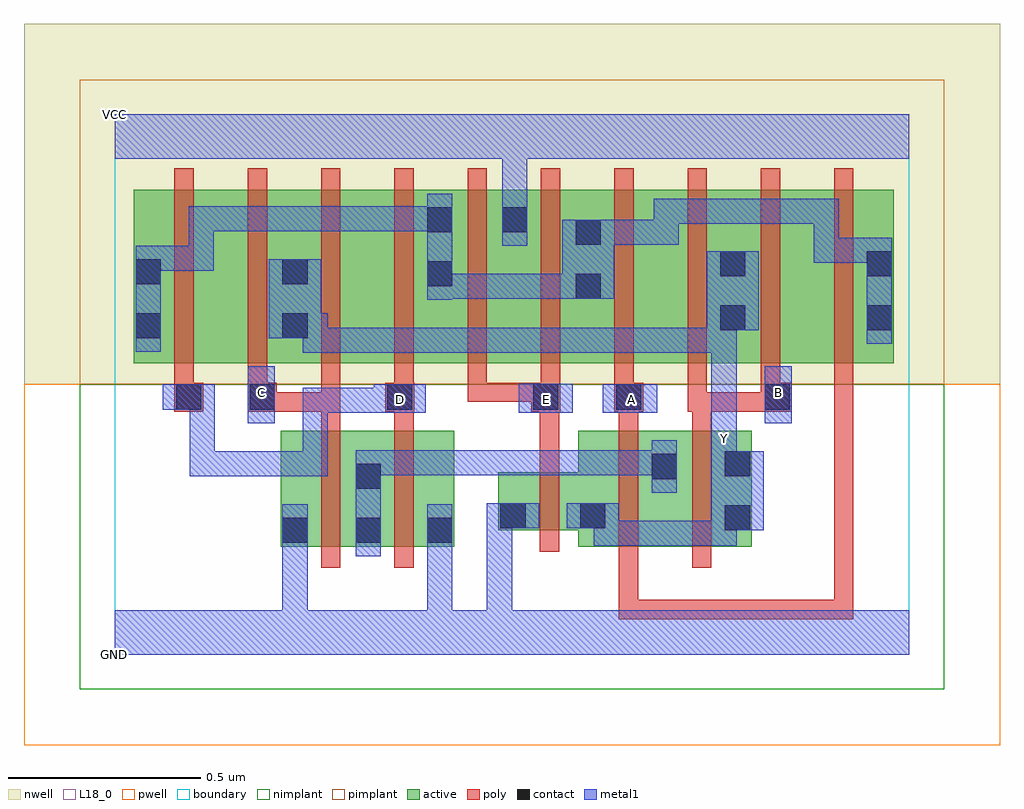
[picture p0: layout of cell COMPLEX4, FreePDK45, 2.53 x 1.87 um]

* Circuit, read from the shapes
.subckt COMPLEX4 A B C D E GND VCC Y
M1 n1 C GND VSUBS nfet w=0.3u l=0.05u
M2 GND D n1 VSUBS nfet w=0.3u l=0.05u
M3 Y E GND VSUBS nfet w=0.15u l=0.05u
M4 n1 A Y VSUBS nfet w=0.3u l=0.05u
M5 Y B n1 VSUBS nfet w=0.3u l=0.05u
M6 n2 D n3 n4 pfet w=0.45u l=0.05u
M7 Y C n2 n4 pfet w=0.45u l=0.05u
M8 n5 C Y n4 pfet w=0.45u l=0.05u
M9 n3 D n5 n4 pfet w=0.45u l=0.05u
M10 VCC E n3 n4 pfet w=0.45u l=0.05u m=2
M11 n6 A n3 n4 pfet w=0.45u l=0.05u
M12 Y B n6 n4 pfet w=0.45u l=0.05u
M13 n7 B Y n4 pfet w=0.45u l=0.05u
M14 n3 A n7 n4 pfet w=0.45u l=0.05u
.ends

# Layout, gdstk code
import gdstk
lib = gdstk.Library(unit=1e-6, precision=1e-09)
def R(c, l, rs):  # rectangles x0, y0, x1, y1
    for r in rs: c.add(gdstk.rectangle(r[:2], r[2:], *l))
def A(c, l, x, y, w, h, nx, ny, dx, dy):  # array of equal rectangles
    R(c, l, [(x+i*dx, y+j*dy, x+i*dx+w, y+j*dy+h) for i in range(nx) for j in range(ny)])
active = (1, 0)
pwell = (2, 0)
nwell = (3, 0)
nimplant = (4, 0)
pimplant = (5, 0)
poly = (9, 0)
contact = (10, 0)
metal1 = (11, 0)
L18_0 = (18, 0)
boundary = (235, 0)

complex4 = lib.new_cell('COMPLEX4')
R(complex4, active, [(0.43,0.28,0.695,0.58), (0.43,0.28,0.505,0.58), (0.62,0.28,0.88,0.58), (0.62,0.28,0.695,0.58), (0.805,0.28,0.88,0.58), (1.202,0.28,1.462,0.58), (1.202,0.28,1.277,0.397), (1.387,0.28,1.652,0.58), (1.577,0.317,1.652,0.58), (0.995,0.322,1.277,0.472), (0.995,0.322,1.07,0.472), (1.387,0.345,1.462,0.525), (0.05,0.755,0.275,1.205), (0.05,0.755,0.155,1.2), (0.275,0.755,0.505,1.205), (0.43,0.755,0.655,1.205), (0.43,0.755,0.505,1.07), (0.655,0.755,0.88,1.205), (0.805,0.755,0.88,1.2), (0.805,0.755,1.075,1.205), (1,0.755,1.265,1.205), (1.19,0.755,1.415,1.205), (1.415,0.755,1.64,1.205), (1.565,0.755,1.795,1.205), (1.565,0.755,1.64,1.07), (1.795,0.755,2.02,1.205), (1.945,0.755,2.02,1.2), (1,0.852,1.075,1.205), (1.19,0.857,1.265,1.2)])
R(complex4, pwell, [(-0.235,-0.235,2.295,0.7)])
R(complex4, nwell, [(-0.235,0.7,2.295,1.635)])
R(complex4, nimplant, [(-0.09,-0.09,2.15,0.7)])
R(complex4, pimplant, [(-0.09,0.7,2.15,1.49)])
A(complex4, poly, 0.725, 0.655, 0.05, 0.095, 4, 1, 0.19, 0)
A(complex4, poly, 0.155, 0.7, 0.05, 0.56, 10, 1, 0.19, 0)
R(complex4, poly, [(1.307,0.092,1.357,0.142), (1.307,0.092,1.357,0.142), (1.307,0.092,1.357,0.142), (1.307,0.092,1.592,0.142), (1.307,0.092,1.357,0.275), (1.542,0.092,1.592,0.142), (1.542,0.092,1.592,0.142), (1.542,0.092,1.592,0.142), (1.542,0.092,1.782,0.142), (1.732,0.092,1.782,0.142), (1.732,0.092,1.782,0.142), (1.732,0.092,1.782,0.142), (1.732,0.092,1.915,0.142), (1.865,0.092,1.915,0.75), (1.865,0.092,1.915,0.142), (1.865,0.092,1.915,0.142), (1.865,0.092,1.915,0.142), (1.865,0.092,1.915,0.142), (1.865,0.092,1.915,0.142), (1.865,0.092,1.915,0.142), (1.865,0.092,1.915,0.142), (1.865,0.092,1.915,0.142), (1.865,0.092,1.915,0.142), (0.535,0.225,0.585,0.635), (0.725,0.225,0.775,0.635), (1.307,0.225,1.357,0.635), (1.497,0.225,1.547,0.635), (1.102,0.267,1.152,0.527), (1.102,0.477,1.152,0.68), (0.535,0.585,0.585,0.68), (0.725,0.585,0.775,0.68), (1.307,0.585,1.357,0.68), (1.497,0.585,1.547,0.68), (0.155,0.63,0.23,0.705), (0.345,0.63,0.42,0.705), (0.37,0.63,0.42,0.68), (0.37,0.63,0.42,0.68), (0.37,0.63,0.585,0.68), (0.535,0.63,0.585,0.68), (0.535,0.63,0.585,0.75), (0.702,0.63,0.777,0.705), (1.08,0.63,1.155,0.705), (1.295,0.63,1.37,0.705), (1.485,0.63,1.535,0.75), (1.485,0.63,1.547,0.68), (1.497,0.63,1.725,0.68), (1.675,0.63,1.725,0.68), (1.675,0.63,1.725,0.68), (1.675,0.63,1.755,0.705), (0.155,0.655,0.205,0.75), (0.345,0.655,0.395,0.75), (0.915,0.655,0.965,0.705), (0.915,0.655,1.13,0.705), (1.08,0.655,1.13,0.705), (1.08,0.655,1.13,0.705), (1.675,0.655,1.725,0.75)])
R(complex4, contact, [(0.435,0.29,0.5,0.355), (0.625,0.29,0.69,0.355), (0.81,0.29,0.875,0.355), (1.582,0.322,1.647,0.387), (1,0.327,1.065,0.392), (1.207,0.327,1.272,0.392), (0.625,0.43,0.69,0.495), (1.392,0.455,1.457,0.52), (1.582,0.462,1.647,0.527), (0.16,0.635,0.225,0.7), (0.35,0.635,0.415,0.7), (0.707,0.635,0.772,0.7), (1.085,0.635,1.15,0.7), (1.3,0.635,1.365,0.7), (1.685,0.635,1.75,0.7), (0.055,0.82,0.12,0.885), (0.435,0.82,0.5,0.885), (1.57,0.84,1.635,0.905), (1.95,0.84,2.015,0.905), (1.195,0.922,1.26,0.987), (0.81,0.955,0.875,1.02), (0.055,0.96,0.12,1.025), (0.435,0.96,0.5,1.025), (1.57,0.98,1.635,1.045), (1.95,0.98,2.015,1.045), (1.195,1.062,1.26,1.127), (0.81,1.095,0.875,1.16), (1.005,1.095,1.07,1.16)])
R(complex4, metal1, [(0,0,2.06,0.115), (0.435,0.05,0.5,0.32), (0.81,0.05,0.875,0.115), (0.81,0.05,0.875,0.115), (0.81,0.05,0.875,0.115), (0.81,0.05,0.875,0.115), (0.81,0.05,0.875,0.32), (0.965,0.05,1.03,0.115), (0.965,0.05,1.03,0.115), (0.965,0.05,1.03,0.392), (0.435,0.255,0.5,0.32), (0.435,0.255,0.5,0.32), (0.435,0.255,0.5,0.32), (0.435,0.255,0.5,0.32), (0.435,0.255,0.5,0.39), (0.625,0.255,0.69,0.53), (0.81,0.255,0.875,0.39), (1.242,0.282,1.462,0.347), (1.242,0.282,1.307,0.392), (1.397,0.282,1.462,0.347), (1.397,0.282,1.462,0.347), (1.397,0.282,1.462,0.347), (1.397,0.282,1.612,0.347), (1.547,0.282,1.612,0.347), (1.547,0.282,1.612,0.387), (1.547,0.322,1.682,0.527), (0.965,0.327,1.03,0.392), (0.965,0.327,1.03,0.392), (0.965,0.327,1.03,0.392), (0.965,0.327,1.03,0.392), (0.965,0.327,1.1,0.392), (1.172,0.327,1.307,0.392), (1.242,0.327,1.307,0.392), (1.392,0.42,1.457,0.555), (0.195,0.462,0.26,0.527), (0.195,0.462,0.415,0.527), (0.195,0.462,0.26,0.7), (0.35,0.462,0.415,0.527), (0.35,0.462,0.552,0.527), (0.487,0.462,0.552,0.527), (0.487,0.462,0.552,0.692), (1.547,0.462,1.612,0.527), (1.547,0.462,1.612,0.642), (0.625,0.465,0.69,0.53), (0.625,0.465,0.69,0.53), (0.625,0.465,0.875,0.53), (0.81,0.465,0.875,0.53), (0.81,0.465,0.875,0.53), (0.81,0.465,0.875,0.53), (0.81,0.465,1.08,0.53), (1.015,0.465,1.08,0.53), (1.015,0.465,1.08,0.53), (1.015,0.465,1.08,0.53), (1.015,0.465,1.28,0.53), (1.215,0.465,1.28,0.53), (1.215,0.465,1.28,0.53), (1.215,0.465,1.28,0.53), (1.215,0.465,1.457,0.53), (1.547,0.577,1.612,0.905), (0.345,0.6,0.415,0.747), (1.685,0.6,1.755,0.747), (0.487,0.627,0.552,0.692), (0.487,0.627,0.552,0.692), (0.487,0.627,0.552,0.692), (0.487,0.627,0.737,0.692), (0.672,0.627,0.737,0.692), (0.672,0.627,0.737,0.692), (0.672,0.627,0.807,0.7), (1.047,0.627,1.187,0.702), (1.265,0.627,1.407,0.7), (0.125,0.635,0.26,0.7), (0.195,0.635,0.26,0.7), (0.195,0.635,0.26,0.7), (0.487,0.782,0.69,0.847), (0.487,0.782,0.552,0.885), (0.625,0.782,0.69,0.847), (0.625,0.782,0.69,0.847), (0.625,0.782,0.69,0.847), (0.625,0.782,0.875,0.847), (0.81,0.782,0.875,0.847), (0.81,0.782,0.875,0.847), (0.81,0.782,0.875,0.847), (0.81,0.782,1.012,0.847), (0.947,0.782,1.012,0.847), (0.947,0.782,1.012,0.847), (0.947,0.782,1.012,0.847), (0.947,0.782,1.32,0.847), (1.255,0.782,1.32,0.847), (1.255,0.782,1.32,0.847), (1.255,0.782,1.32,0.847), (1.255,0.782,1.462,0.847), (1.397,0.782,1.6,0.847), (1.397,0.782,1.462,0.847), (1.535,0.782,1.6,0.905), (0.055,0.785,0.12,1.06), (1.95,0.805,2.015,1.08), (0.4,0.82,0.535,1.025), (0.47,0.82,0.552,0.885), (1.535,0.84,1.6,0.905), (1.535,0.84,1.67,1.045), (0.81,0.92,0.875,1.195), (0.81,0.922,0.875,0.987), (0.81,0.922,0.875,0.987), (0.81,0.922,1.087,0.987), (1.022,0.922,1.225,0.987), (1.022,0.922,1.087,0.987), (1.022,0.922,1.087,0.987), (1.022,0.922,1.087,0.987), (1.16,0.922,1.295,1.127), (0.055,0.995,0.12,1.06), (0.055,0.995,0.12,1.06), (0.055,0.995,0.257,1.06), (0.192,0.995,0.257,1.06), (0.192,0.995,0.257,1.162), (1.812,1.015,2.015,1.08), (1.812,1.015,1.877,1.08), (1.812,1.015,1.877,1.08), (1.812,1.015,1.877,1.08), (1.812,1.015,1.877,1.182), (1.005,1.06,1.07,1.195), (1.23,1.062,1.295,1.127), (1.23,1.062,1.295,1.127), (1.23,1.062,1.462,1.127), (1.397,1.062,1.462,1.182), (0.192,1.097,0.257,1.162), (0.192,1.097,0.397,1.162), (0.332,1.097,0.397,1.162), (0.332,1.097,0.552,1.162), (0.487,1.097,0.69,1.162), (0.487,1.097,0.552,1.162), (0.487,1.097,0.552,1.162), (0.487,1.097,0.552,1.162), (0.625,1.097,0.69,1.162), (0.625,1.097,0.69,1.162), (0.625,1.097,0.69,1.162), (0.625,1.097,0.875,1.162), (1.397,1.117,1.462,1.182), (1.397,1.117,1.462,1.182), (1.397,1.117,1.737,1.182), (1.672,1.117,1.737,1.182), (1.672,1.117,1.737,1.182), (1.672,1.117,1.737,1.182), (1.672,1.117,1.877,1.182), (1.812,1.117,1.877,1.182), (1.005,1.13,1.07,1.35), (0,1.285,2.06,1.4)])
R(complex4, L18_0, [(0,0,2.06,0.115), (0.435,0.05,0.5,0.32), (0.81,0.05,0.875,0.115), (0.81,0.05,0.875,0.115), (0.81,0.05,0.875,0.115), (0.81,0.05,0.875,0.115), (0.81,0.05,0.875,0.32), (0.965,0.05,1.03,0.115), (0.965,0.05,1.03,0.115), (0.965,0.05,1.03,0.392), (0.435,0.255,0.5,0.32), (0.435,0.255,0.5,0.32), (0.435,0.255,0.5,0.32), (0.435,0.255,0.5,0.32), (0.435,0.255,0.5,0.39), (0.81,0.255,0.875,0.39), (1.242,0.282,1.462,0.347), (1.242,0.282,1.307,0.392), (1.397,0.282,1.462,0.347), (1.397,0.282,1.462,0.347), (1.397,0.282,1.462,0.347), (1.397,0.282,1.612,0.347), (1.547,0.282,1.612,0.347), (1.547,0.282,1.612,0.387), (1.547,0.322,1.682,0.527), (0.965,0.327,1.1,0.392), (0.965,0.327,1.03,0.392), (0.965,0.327,1.03,0.392), (0.965,0.327,1.03,0.392), (0.965,0.327,1.03,0.392), (1.172,0.327,1.307,0.392), (1.242,0.327,1.307,0.392), (0.195,0.462,0.26,0.527), (0.195,0.462,0.26,0.7), (0.195,0.462,0.415,0.527), (0.35,0.462,0.415,0.527), (0.35,0.462,0.552,0.527), (0.487,0.462,0.552,0.527), (0.487,0.462,0.552,0.692), (1.547,0.462,1.612,0.527), (1.547,0.462,1.612,0.642), (1.547,0.527,1.612,0.592), (1.547,0.577,1.612,0.905), (0.345,0.6,0.415,0.747), (1.685,0.6,1.755,0.747), (0.487,0.627,0.552,0.692), (0.487,0.627,0.552,0.692), (0.487,0.627,0.552,0.692), (0.487,0.627,0.737,0.692), (0.672,0.627,0.737,0.692), (0.672,0.627,0.737,0.692), (0.672,0.627,0.807,0.7), (0.707,0.627,0.772,0.692), (1.047,0.627,1.187,0.702), (1.087,0.627,1.152,0.692), (1.265,0.627,1.407,0.7), (1.307,0.627,1.372,0.692), (0.125,0.635,0.26,0.7), (0.195,0.635,0.26,0.7), (0.195,0.635,0.26,0.7), (0.347,0.647,0.412,0.712), (1.687,0.647,1.752,0.712), (0.487,0.782,0.552,0.885), (0.487,0.782,0.69,0.847), (0.625,0.782,0.69,0.847), (0.625,0.782,0.69,0.847), (0.625,0.782,0.69,0.847), (0.625,0.782,0.875,0.847), (0.81,0.782,0.875,0.847), (0.81,0.782,0.875,0.847), (0.81,0.782,0.875,0.847), (0.81,0.782,1.012,0.847), (0.947,0.782,1.012,0.847), (0.947,0.782,1.012,0.847), (0.947,0.782,1.012,0.847), (0.947,0.782,1.32,0.847), (1.255,0.782,1.32,0.847), (1.255,0.782,1.32,0.847), (1.255,0.782,1.32,0.847), (1.255,0.782,1.462,0.847), (1.397,0.782,1.462,0.847), (1.397,0.782,1.6,0.847), (1.535,0.782,1.6,0.905), (0.4,0.82,0.535,1.025), (0.47,0.82,0.552,0.885), (1.535,0.84,1.6,0.905), (1.535,0.84,1.67,1.045), (1.005,1.06,1.07,1.195), (1.005,1.13,1.07,1.35), (0,1.285,2.06,1.4)])
R(complex4, boundary, [(0,0,2.06,1.4)])
complex4.add(gdstk.Label('A', (1.34,0.66), layer=11, texttype=0))
complex4.add(gdstk.Label('B', (1.72,0.68), layer=11, texttype=0))
complex4.add(gdstk.Label('C', (0.38,0.68), layer=11, texttype=0))
complex4.add(gdstk.Label('D', (0.74,0.66), layer=11, texttype=0))
complex4.add(gdstk.Label('E', (1.12,0.66), layer=11, texttype=0))
complex4.add(gdstk.Label('Y', (1.58,0.56), layer=11, texttype=0))
complex4.add(gdstk.Label('VCC', (0,1.4), layer=11, texttype=0))
complex4.add(gdstk.Label('GND', (0,0), layer=11, texttype=0))

lib.write_gds('COMPLEX4.gds')
